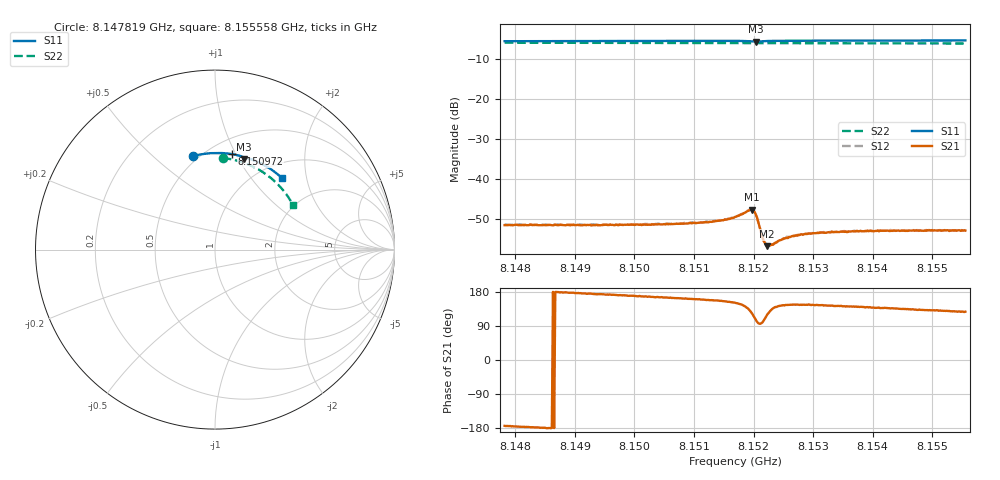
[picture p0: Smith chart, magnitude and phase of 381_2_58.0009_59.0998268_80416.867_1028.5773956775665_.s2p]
#  HZ  S  RI  R  50.00
! Rohde & Schwarz Vector Network Analyzer
! Rohde-Schwarz,ZNB20-2Port,1311601062101988,3.16
! Created: UTC 3/21/2024, 1:07:20 AM
! freq[Hz]  re:S11  im:S11  re:S21  im:S21  re:S12  im:S12  re:S22  im:S22
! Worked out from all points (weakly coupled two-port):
!   401 points, 8.147819 GHz to 8.155558 GHz, reference 50 ohm
!   highest |S21| = -47.78 dB at 8.151978 GHz (marker M1); lowest = -56.9 dB at 8.15223 GHz (marker M2)
!   lowest |S11| = -5.5 dB at 8.152036 GHz (marker M3), VSWR 3.25, Z = 37.6 + j52.7 ohm
!   |S11| at or under -10 dB: nowhere
!   |S22| runs from -6.0 to -5.8 dB; largest |S21 - S12| = 0.00012
!   S11 on the Smith chart (normalised r, x): 8.147819 GHz: 0.47, +0.68; 8.150972 GHz: 0.64, +0.96; 8.155558 GHz: 1.27, +1.45
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8.1478187e9  -0.1237 0.5206  -0.0026 -0.000283  -0.00265 -0.000243  0.0425 0.5107
8.149115e9  -0.0347 0.5362  -0.0026 0.0002  -0.00266 0.000222  0.1253 0.4953
8.1504113e9  0.0554 0.5366  -0.00261 0.000671  -0.00263 0.000722  0.2036 0.4667
8.1509724e9  0.0945 0.532  -0.00262 0.000902  -0.00268 0.000986  0.2357 0.4503
8.1514174e9  0.1256 0.5259  -0.00274 0.00119  -0.0027 0.00123  0.2603 0.4357
8.1516882e9  0.1451 0.5205  -0.00291 0.00159  -0.0029 0.00168  0.2747 0.4263
8.1519204e9  0.1615 0.5105  -0.00274 0.0029  -0.00276 0.003  0.2867 0.4175
8.1519785e9  0.163 0.5061  -0.00215 0.00347  -0.00211 0.00352  0.2894 0.4152
8.1520171e9  0.1622 0.5042  -0.00141 0.00357  -0.00135 0.00364  0.2914 0.4139
8.1520365e9  0.1614 0.5042  -0.000978 0.00344  -0.000955 0.00348  0.2923 0.4131
8.1520752e9  0.1609 0.5054  -0.000391 0.0029  -0.000383 0.00295  0.2942 0.4119
8.1521719e9  0.166 0.5098  -0.000417 0.00159  -0.000378 0.00161  0.2992 0.4085
8.1521913e9  0.1675 0.5102  -0.000519 0.00147  -0.000505 0.00151  0.3002 0.4076
8.15223e9  0.171 0.5105  -0.000714 0.00123  -0.000707 0.00129  0.3021 0.4061
8.152288e9  0.1758 0.5104  -0.000957 0.00111  -0.000944 0.00115  0.305 0.404
8.1524621e9  0.1891 0.5075  -0.00138 0.00101  -0.00141 0.00103  0.3135 0.3969
8.1525782e9  0.1974 0.505  -0.00148 0.00103  -0.00152 0.00106  0.3194 0.3922
8.1528298e9  0.2144 0.4988  -0.00164 0.00111  -0.00168 0.00117  0.3313 0.3816
8.1529845e9  0.2245 0.4946  -0.0017 0.00116  -0.00171 0.00119  0.3384 0.375
8.1537585e9  0.273 0.471  -0.00169 0.00139  -0.00169 0.0014  0.3721 0.3397
8.1542808e9  0.304 0.4525  -0.00161 0.00151  -0.00162 0.00156  0.3927 0.3142
8.1555578e9  0.3738 0.3991  -0.00136 0.00177  -0.00137 0.00181  0.4355 0.2471
